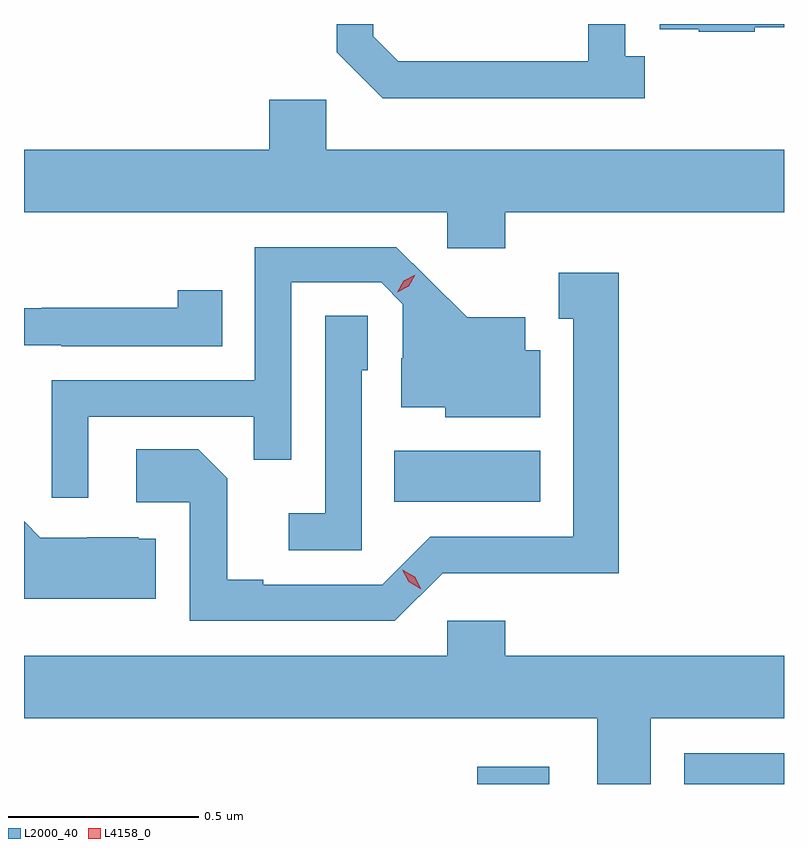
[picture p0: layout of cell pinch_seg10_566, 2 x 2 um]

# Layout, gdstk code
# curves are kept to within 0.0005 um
import gdstk
lib = gdstk.Library(unit=1e-6, precision=1e-09)
def R(c, l, rs):  # rectangles x0, y0, x1, y1
    for r in rs: c.add(gdstk.rectangle(r[:2], r[2:], *l))
def P(c, l, *ps):  # polygons
    for p in ps: c.add(gdstk.Polygon(p, *l))
L2000_40 = (2000, 40)
L4158_0 = (4158, 0)

pinch_seg10_566 = lib.new_cell('pinch_seg10_566')
R(pinch_seg10_566, L2000_40, [(222.835,1272.171,223.024,1272.217), (223.38,1272.171,223.642,1272.252), (222.616,1272.914,223,1273.048)])
P(pinch_seg10_566, L2000_40, [(223.276,1274.086),(223.224,1274.086),(223.224,1274.171),(223.127,1274.171),(223.127,1274.073),(222.627,1274.073),(222.561,1274.139),(222.561,1274.171),(222.465,1274.171),(222.465,1274.097),(222.586,1273.976),(223.276,1273.976)],
  [(223.565,1274.163),(223.642,1274.163),(223.642,1274.171),(223.315,1274.171),(223.315,1274.157),(223.417,1274.157),(223.417,1274.151),(223.565,1274.151)],
  [(222.908,1273.676),(223.642,1273.676),(223.642,1273.84),(222.438,1273.84),(222.438,1273.972),(222.287,1273.972),(222.287,1273.84),(221.642,1273.84),(221.642,1273.676),(222.756,1273.676),(222.756,1273.581),(222.908,1273.581)],
  [(221.811,1273.137),(222.247,1273.137),(222.247,1273.024),(222.345,1273.024),(222.345,1273.491),(222.582,1273.491),(222.639,1273.434),(222.639,1273.292),(222.635,1273.292),(222.635,1273.163),(222.75,1273.163),(222.75,1273.136),(223,1273.136),(223,1273.312),(222.961,1273.312),(222.961,1273.399),(222.809,1273.399),(222.622,1273.584),(222.249,1273.584),(222.249,1273.233),(221.715,1273.233),(221.715,1272.924),(221.811,1272.924)],
  [(222.744,1272.726),(222.966,1272.726),(222.966,1272.725),(223.207,1272.725),(223.207,1273.516),(223.049,1273.516),(223.049,1273.395),(223.088,1273.395),(223.088,1272.822),(222.711,1272.822),(222.585,1272.696),(222.271,1272.696),(222.271,1272.709),(222.177,1272.709),(222.177,1272.976),(222.101,1273.052),(221.937,1273.052),(221.937,1272.912),(222.078,1272.912),(222.078,1272.6),(222.618,1272.6)],
  [(222.164,1273.471),(222.046,1273.471),(222.046,1273.424),(221.689,1273.424),(221.689,1273.423),(221.642,1273.423),(221.642,1273.326),(221.74,1273.326),(221.74,1273.323),(222.164,1273.323)],
  [(222.531,1273.26),(222.546,1273.26),(222.546,1273.403),(222.435,1273.403),(222.435,1272.883),(222.339,1272.883),(222.339,1272.786),(222.531,1272.786)],
  [(221.989,1272.817),(221.945,1272.817),(221.942,1272.82),(221.808,1272.82),(221.808,1272.819),(221.685,1272.819),(221.642,1272.862),(221.642,1272.659),(221.989,1272.659)],
  [(223.291,1272.344),(223.642,1272.344),(223.642,1272.508),(222.908,1272.508),(222.908,1272.601),(222.756,1272.601),(222.756,1272.508),(221.642,1272.508),(221.642,1272.344),(223.151,1272.344),(223.151,1272.171),(223.291,1272.171)])
P(pinch_seg10_566, L4158_0, [(222.687,1272.684),(222.655,1272.703),(222.638,1272.735),(222.638,1272.735),(222.638,1272.735),(222.67,1272.717),(222.687,1272.684),(222.687,1272.684)],
  [(222.624,1273.465),(222.624,1273.465),(222.641,1273.495),(222.671,1273.511),(222.672,1273.511),(222.672,1273.511),(222.655,1273.481),(222.624,1273.465)])

lib.write_gds('pinch_seg10_566.gds')
